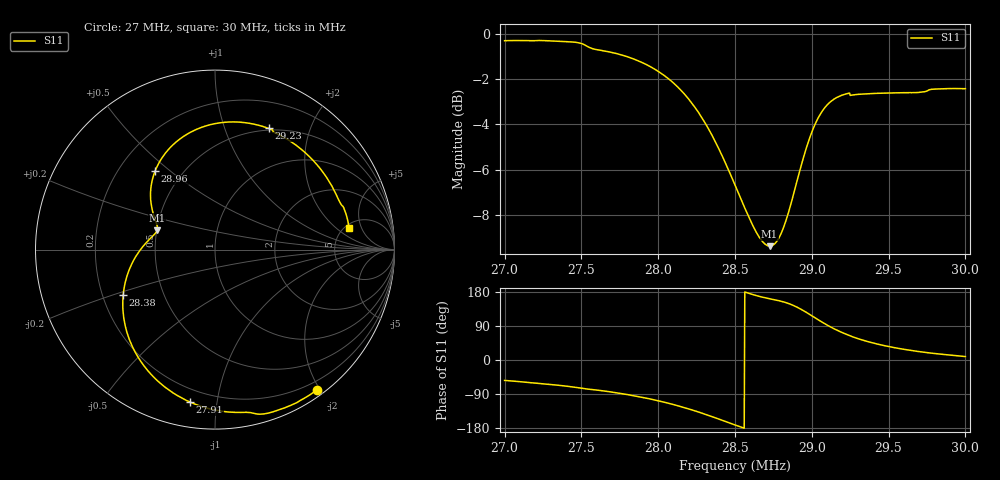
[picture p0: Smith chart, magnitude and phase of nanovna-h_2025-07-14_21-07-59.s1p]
! NanoVNA-App by OneOfEleven et al v1.1.209 (+OD18)
! Date: 2025-07-14 21:08:00
! Start: 27MHz Stop: 30MHz Points: 801
! S-Parameter data: F S11
# Hz S RI R 50
!  Frequency  S11_Real  S11_Imag
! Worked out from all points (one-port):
!   801 points, 27 MHz to 30 MHz, reference 50 ohm
!   lowest |S11| = -9.4 dB at 28.73 MHz (marker M1), VSWR 2.03, Z = 25.1 + j6.08 ohm
!   |S11| at or under -10 dB: nowhere
!   S11 on the Smith chart (normalised r, x): 27 MHz: 0.09, -1.97; 27.91 MHz: 0.13, -0.84; 28.38 MHz: 0.29, -0.22; 28.96 MHz: 0.35, +0.44; 29.23 MHz: 0.48, +1.42; 30 MHz: 5.47, +3.05
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2.7e7  0.5695 -0.7797
2.72325e7  0.4547 -0.8526
2.7375e7  0.364 -0.8903
2.75025e7  0.2534 -0.917
2.775e7  0.0328 -0.8997
2.79075e7  -0.1413 -0.8487
2.802e7  -0.2724 -0.7709
2.8125e7  -0.3867 -0.6593
2.826e7  -0.4912 -0.459
2.838e7  -0.5116 -0.2526
2.85e7  -0.4585 -0.0692
2.860125e7  -0.3847 0.0368
2.8725e7  -0.3224 0.1071
2.881125e7  -0.332 0.163
2.8875e7  -0.3554 0.2506
2.892e7  -0.3571 0.3443
2.89575e7  -0.334 0.4366
2.901375e7  -0.2459 0.5723
2.908875e7  -0.0568 0.6873
2.915625e7  0.1233 0.7109
2.9235e7  0.2983 0.6754
2.925e7  0.3258 0.6546
2.9325e7  0.4407 0.5895
2.941125e7  0.5349 0.5093
2.950875e7  0.6073 0.4229
2.9625e7  0.6634 0.3309
2.979375e7  0.7201 0.2258
3e7  0.747 0.1194
